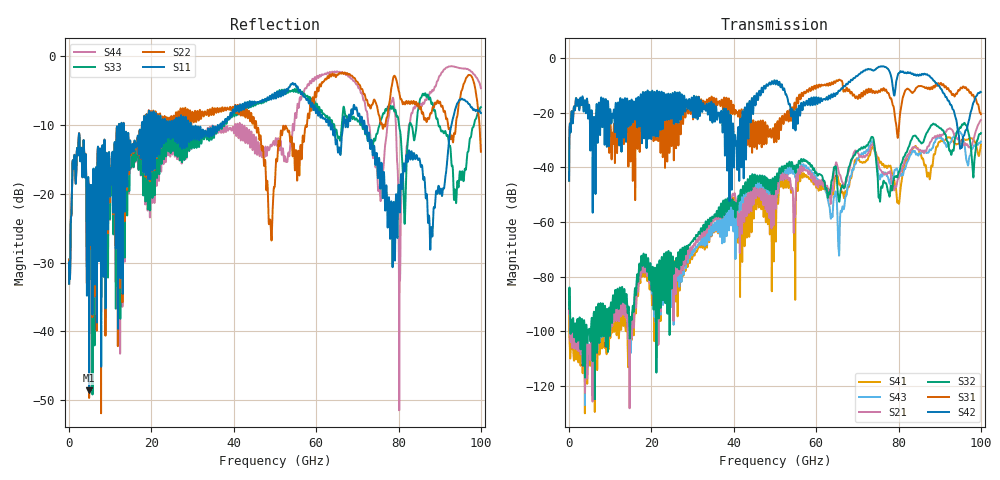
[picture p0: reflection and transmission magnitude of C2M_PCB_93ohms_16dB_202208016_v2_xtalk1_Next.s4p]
! Info: Touchstone file created by Circ.  Input file=Intel_C2M_200G_5p0in_202208016_staggered.circ
# Hz S RI R 50
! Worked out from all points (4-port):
!   10000 points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, 10 MHz to 100 GHz, reference 50 ohm
!   strongest paths, dB at 10 MHz, 25.01 GHz, 50.01 GHz, 75.01 GHz, 100 GHz:
!     S42: -44.9, -16.0, -8.7, -3.4, -12.4
!     S31: -45.0, -19.9, -24.3, -12.3, -20.5
!     S32: -91.7, -79.4, -43.5, -45.6, -27.4
!     S21: -92.5, -75.8, -48.1, -38.0, -22.6
!     S43: -92.2, -79.9, -45.9, -41.6, -30.5
!     S41: -94.4, -74.9, -51.3, -36.3, -31.7
!   lowest |S11| = -48.6 dB at 4.89 GHz (marker M1), VSWR 1.01, Z = 50.3 - j0.159 ohm
!   |S11| at or under -10 dB: start of sweep to 12.12 GHz; 29.56 GHz to 36.1 GHz (6.537 GHz wide, 19.9 % of centre); 71.79 GHz to 92.83 GHz (21.04 GHz wide, 25.6 % of centre)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
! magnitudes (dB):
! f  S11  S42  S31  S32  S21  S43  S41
! 10 MHz  -33.1  -44.9  -45.0  -91.7  -92.5  -92.2  -94.4
! 4.89 GHz  -48.6  -17.2  -18.7  -99.2  -106.5  -106.1  -109.9
! 40.45 GHz  -7.2  -31.4  -19.0  -56.6  -52.1  -63.1  -54.9
! 73.5 GHz  -12.3  -4.3  -12.0  -28.8  -31.7  -30.4  -33.1
! 76.09 GHz  -19.6  -3.0  -11.9  -47.3  -41.8  -43.2  -39.0
! 95.19 GHz  -6.3  -32.5  -10.8  -25.3  -31.2  -27.7  -30.3
! 100 GHz  -8.3  -12.4  -20.5  -27.4  -22.6  -30.5  -31.7
